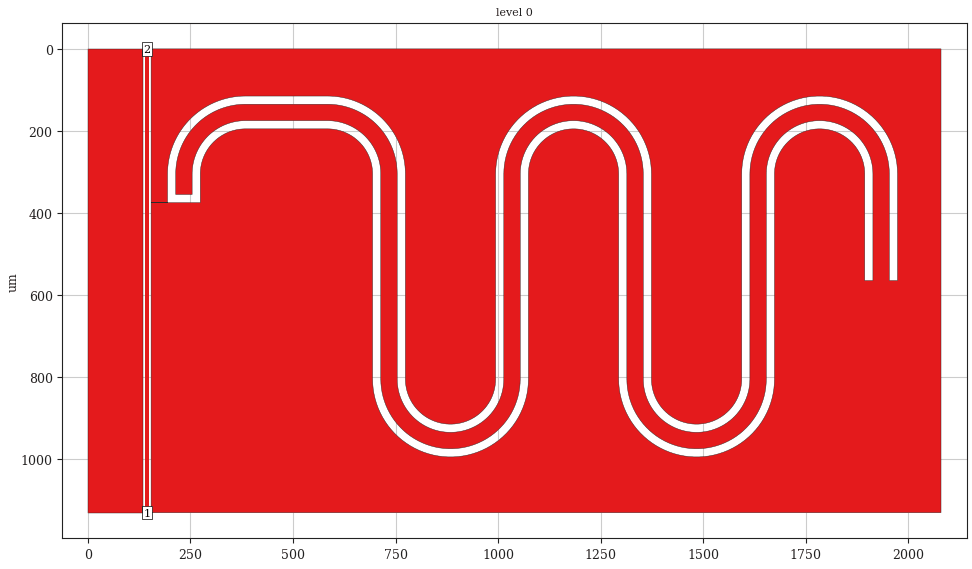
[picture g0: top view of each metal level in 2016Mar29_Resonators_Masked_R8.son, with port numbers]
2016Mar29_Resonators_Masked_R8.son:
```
FTYP SONPROJ 15 ! Sonnet Project File
VER 16.52
HEADER
LIC calt2.2.43068 b4ae2bd1247e DESKTOP-SL82IK9 Michael
DAT 04/05/2016 01:48:14
BUILT_BY_CREATED xgeom 16.52 03/26/2016 21:21:12
BUILT_BY_SAVED xgeom 16.52
MDATE 04/05/2016 01:34:09
HDATE 04/05/2016 01:34:09
END HEADER
DIM
FREQ GHZ
IND NH
LNG UM
ANG DEG
CON /OH
CAP PF
RES OH
END DIM
FREQ
ABS 5.9 6.2 
END FREQ
CONTROL
ABS
OPTIONS  -d 
SPEED 0
CACHE_ABS 1
TARG_ABS 300
Q_ACC N
DET_ABS_RES Y
END CONTROL
GEO
TMET "Lossless" 0 SUP 0 0 0 0
BMET "Lossless" 0 SUP 0 0 0 0
BOX 1 2080 1130 832 452 20 0
      1000 1 1 0 0 0 0 "Air"
      500 11.9 1 5e-006 0 0 0 "Silicon (intrinsic)"
LORGN 0 1130 U 
POR1 STD
POLY 9 1
2
1 50 0 0 0 144 1130 
POR1 STD
POLY 9 1
0
2 50 0 0 0 144 -1 
NUM 3
0 5 -1 N 9 1 1 100 100 0 0 0 Y
149 -1
139 -1
139 1130
149 1130
149 -1
END
0 5 -1 N 10 1 1 100 100 0 0 0 Y
134 -1
0 -1
0 1130
134 1130
134 -1
END
0 1218 -1 N 11 1 1 100 100 0 0 0 Y
2079.999993 -1
154 -1
154 374
194 374
194 304
194.1 297.91
194.39 291.83
194.88 285.76
195.56 279.7
196.44 273.68
197.5 267.68
198.76 261.72
200.21 255.81
201.85 249.94
203.68 244.13
205.69 238.38
207.89 232.7
210.26 227.09
212.82 221.56
215.55 216.12
218.45 210.76
221.52 205.51
224.76 200.35
228.17 195.3
231.73 190.36
235.45 185.54
239.32 180.84
243.35 176.26
247.51 171.82
251.82 167.51
256.26 163.35
260.84 159.32
265.54 155.45
270.36 151.73
275.3 148.17
280.35 144.76
285.51 141.52
290.76 138.45
296.12 135.55
301.56 132.82
307.09 130.26
312.7 127.89
318.38 125.69
324.13 123.68
329.94 121.85
335.81 120.21
341.72 118.76
347.68 117.5
353.68 116.43
359.7 115.56
365.76 114.88
371.83 114.39
377.91 114.1
384 114
584 114
590.09 114.1
596.17 114.39
602.24 114.88
608.3 115.56
614.32 116.43
620.32 117.5
626.28 118.76
632.19 120.21
638.06 121.85
643.87 123.68
649.62 125.69
655.3 127.89
660.91 130.26
666.44 132.82
671.88 135.55
677.24 138.45
682.49 141.52
687.65 144.76
692.7 148.17
697.64 151.73
702.46 155.45
707.16 159.32
711.74 163.35
716.18 167.51
720.49 171.82
724.65 176.26
728.68 180.84
732.55 185.54
736.27 190.36
739.83 195.3
743.24 200.35
746.48 205.51
749.55 210.76
752.45 216.12
755.18 221.56
757.74 227.09
760.11 232.7
762.31 238.38
764.32 244.13
766.15 249.94
767.79 255.81
769.24 261.72
770.5 267.68
771.57 273.68
772.44 279.7
773.12 285.76
773.61 291.83
773.9 297.91
774 304
774 804
774.23 811.05
774.9 818.07
776.03 825.03
777.6 831.9
779.6 838.66
782.04 845.28
784.89 851.73
788.15 857.98
791.81 864.01
795.85 869.79
800.24 875.3
804.98 880.53
810.05 885.43
815.42 890
821.07 894.22
826.98 898.07
833.12 901.53
839.47 904.58
846.01 907.23
852.7 909.45
859.52 911.24
866.44 912.59
873.44 913.49
880.47 913.94
887.53 913.94
894.56 913.49
901.56 912.59
908.48 911.24
915.3 909.45
921.99 907.23
928.53 904.58
934.88 901.53
941.02 898.07
946.93 894.22
952.58 890
957.95 885.43
963.02 880.53
967.76 875.3
972.15 869.79
976.19 864.01
979.85 857.98
983.11 851.73
985.96 845.28
988.4 838.66
990.4 831.9
991.97 825.03
993.1 818.07
993.77 811.05
994 804
994 304
994.39 291.83
995.56 279.7
997.5 267.68
1000.21 255.81
1003.68 244.13
1007.89 232.7
1012.82 221.56
1018.45 210.76
1024.76 200.35
1031.73 190.36
1039.32 180.84
1047.51 171.82
1056.26 163.35
1065.54 155.45
1075.3 148.17
1085.51 141.52
1096.12 135.55
1107.09 130.26
1118.38 125.69
1129.94 121.85
1141.72 118.76
1153.68 116.43
1165.76 114.88
1177.91 114.1
1190.09 114.1
1202.24 114.88
1214.32 116.43
1226.28 118.76
1238.06 121.85
1249.62 125.69
1260.91 130.26
1271.88 135.55
1282.49 141.52
1292.7 148.17
1302.46 155.45
1311.74 163.35
1320.49 171.82
1328.68 180.84
1336.27 190.36
1343.24 200.35
1349.55 210.76
1355.18 221.56
1360.11 232.7
1364.32 244.13
1367.79 255.81
1370.5 267.68
1372.44 279.7
1373.61 291.83
1374 304
1374 804
1374.23 811.05
1374.9 818.07
1376.03 825.03
1377.6 831.9
1379.6 838.66
1382.04 845.28
1384.89 851.73
1388.15 857.98
1391.81 864.01
1395.85 869.79
1400.24 875.3
1404.98 880.53
1410.05 885.43
1415.42 890
1421.07 894.22
1426.98 898.07
1433.12 901.53
1439.47 904.58
1446.01 907.23
1452.7 909.45
1459.52 911.24
1466.44 912.59
1473.44 913.49
1480.47 913.94
1487.53 913.94
1494.56 913.49
1501.56 912.59
1508.48 911.24
1515.3 909.45
1521.99 907.23
1528.53 904.58
1534.88 901.53
1541.02 898.07
1546.93 894.22
1552.58 890
1557.95 885.43
1563.02 880.53
1567.76 875.3
1572.15 869.79
1576.19 864.01
1579.85 857.98
1583.11 851.73
1585.96 845.28
1588.4 838.66
1590.4 831.9
1591.97 825.03
1593.1 818.07
1593.77 811.05
1594 804
1594 304
1594.39 291.83
1595.56 279.7
1597.5 267.68
1600.21 255.81
1603.68 244.13
1607.89 232.7
1612.82 221.56
1618.45 210.76
1624.76 200.35
1631.73 190.36
1639.32 180.84
1647.51 171.82
1656.26 163.35
1665.54 155.45
1675.3 148.17
1685.51 141.52
1696.12 135.55
1707.09 130.26
1718.38 125.69
1729.94 121.85
1741.72 118.76
1753.68 116.43
1765.76 114.88
1777.91 114.1
1790.09 114.1
1802.24 114.88
1814.32 116.43
1826.28 118.76
1838.06 121.85
1849.62 125.69
1860.91 130.26
1871.88 135.55
1882.49 141.52
1892.7 148.17
1902.46 155.45
1911.74 163.35
1920.49 171.82
1928.68 180.84
1936.27 190.36
1943.24 200.35
1949.55 210.76
1955.18 221.56
1960.11 232.7
1964.32 244.13
1967.79 255.81
1970.5 267.68
1972.44 279.7
1973.61 291.83
1974 304
1974 564.05
1954 564.05
1954 304
1953.65 293.11
1952.6 282.26
1950.86 271.5
1948.44 260.88
1945.34 250.43
1941.58 240.2
1937.17 230.24
1932.12 220.58
1926.48 211.26
1920.24 202.32
1913.45 193.8
1906.12 185.73
1898.29 178.15
1889.99 171.09
1881.26 164.57
1872.13 158.63
1862.63 153.28
1852.81 148.55
1842.71 144.46
1832.37 141.03
1821.83 138.26
1811.13 136.18
1800.32 134.79
1789.45 134.09
1778.55 134.09
1767.68 134.79
1756.87 136.18
1746.17 138.26
1735.63 141.03
1725.29 144.46
1715.19 148.55
1705.37 153.28
1695.87 158.63
1686.74 164.57
1678.01 171.09
1669.71 178.15
1661.88 185.73
1654.55 193.8
1647.76 202.32
1641.53 211.26
1635.88 220.58
1630.84 230.24
1626.42 240.2
1622.66 250.43
1619.56 260.88
1617.14 271.5
1615.4 282.26
1614.35 293.11
1614 304
1614 804
1613.73 812.33
1612.93 820.62
1611.6 828.85
1609.75 836.97
1607.38 844.96
1604.5 852.78
1601.13 860.4
1597.27 867.79
1592.95 874.92
1588.18 881.75
1582.99 888.27
1577.39 894.44
1571.4 900.24
1565.05 905.64
1558.38 910.62
1551.39 915.17
1544.13 919.26
1536.62 922.87
1528.9 926
1520.99 928.63
1512.93 930.74
1504.75 932.33
1496.48 933.4
1488.17 933.93
1479.83 933.93
1471.52 933.4
1463.25 932.33
1455.07 930.74
1447.01 928.63
1439.1 926
1431.38 922.87
1423.87 919.26
1416.61 915.17
1409.63 910.62
1402.95 905.64
1396.6 900.24
1390.61 894.44
1385.01 888.27
1379.82 881.75
1375.05 874.92
1370.73 867.79
1366.87 860.4
1363.5 852.78
1360.62 844.96
1358.25 836.97
1356.4 828.85
1355.07 820.62
1354.27 812.33
1354 804
1354 304
1353.65 293.11
1352.6 282.26
1350.86 271.5
1348.44 260.88
1345.34 250.43
1341.58 240.2
1337.17 230.24
1332.12 220.58
1326.48 211.26
1320.24 202.32
1313.45 193.8
1306.12 185.73
1298.29 178.15
1289.99 171.09
1281.26 164.57
1272.13 158.63
1262.63 153.28
1252.81 148.55
1242.71 144.46
1232.37 141.03
1221.83 138.26
1211.13 136.18
1200.32 134.79
1189.45 134.09
1178.55 134.09
1167.68 134.79
1156.87 136.18
1146.17 138.26
1135.63 141.03
1125.29 144.46
1115.19 148.55
1105.37 153.28
1095.87 158.63
1086.74 164.57
1078.01 171.09
1069.71 178.15
1061.88 185.73
1054.55 193.8
1047.76 202.32
1041.53 211.26
1035.88 220.58
1030.84 230.24
1026.42 240.2
1022.66 250.43
1019.56 260.88
1017.14 271.5
1015.4 282.26
1014.35 293.11
1014 304
1014 804
1013.73 812.33
1012.93 820.62
1011.6 828.85
1009.75 836.97
1007.38 844.96
1004.5 852.78
1001.13 860.4
997.27 867.79
992.95 874.92
988.18 881.75
982.99 888.27
977.39 894.44
971.4 900.24
965.05 905.64
958.38 910.62
951.39 915.17
944.13 919.26
936.62 922.87
928.9 926
920.99 928.63
912.93 930.74
904.75 932.33
896.48 933.4
888.17 933.93
879.83 933.93
871.52 933.4
863.25 932.33
855.07 930.74
847.01 928.63
839.1 926
831.38 922.87
823.87 919.26
816.61 915.17
809.63 910.62
802.95 905.64
796.6 900.24
790.61 894.44
785.01 888.27
779.82 881.75
775.05 874.92
770.73 867.79
766.87 860.4
763.5 852.78
760.62 844.96
758.25 836.97
756.4 828.85
755.07 820.62
754.27 812.33
754 804
754 304
753.91 298.55
753.65 293.11
753.21 287.68
752.6 282.26
751.82 276.87
750.86 271.5
749.74 266.17
748.44 260.88
746.97 255.63
745.34 250.43
743.54 245.29
741.58 240.2
739.45 235.19
737.17 230.24
734.72 225.37
732.12 220.58
729.37 215.87
726.48 211.26
723.43 206.74
720.24 202.32
716.91 198.01
713.45 193.8
709.85 189.71
706.12 185.73
702.27 181.88
698.29 178.15
694.2 174.55
689.99 171.09
685.68 167.76
681.26 164.57
676.74 161.53
672.13 158.63
667.42 155.88
662.63 153.28
657.76 150.83
652.81 148.55
647.8 146.42
642.71 144.46
637.57 142.66
632.37 141.03
627.12 139.56
621.83 138.26
616.5 137.13
611.13 136.18
605.74 135.4
600.32 134.79
594.89 134.35
589.45 134.09
584 134
384 134
378.55 134.09
373.11 134.35
367.68 134.79
362.26 135.4
356.87 136.18
351.5 137.13
346.17 138.26
340.88 139.56
335.63 141.03
330.43 142.66
325.29 144.46
320.2 146.42
315.19 148.55
310.24 150.83
305.37 153.28
300.58 155.88
295.87 158.63
291.26 161.53
286.74 164.57
282.32 167.76
278.01 171.09
273.8 174.55
269.71 178.15
265.73 181.88
261.88 185.73
258.15 189.71
254.55 193.8
251.09 198.01
247.76 202.32
244.57 206.74
241.53 211.26
238.63 215.87
235.88 220.58
233.28 225.37
230.84 230.24
228.55 235.19
226.42 240.2
224.46 245.29
222.66 250.43
221.03 255.63
219.56 260.88
218.26 266.17
217.14 271.5
216.18 276.87
215.4 282.26
214.79 287.68
214.35 293.11
214.09 298.55
214 304
214 354
254 354
254 304
254.07 299.83
254.27 295.67
254.6 291.52
255.07 287.38
255.67 283.25
256.4 279.15
257.26 275.07
258.25 271.03
259.37 267.01
260.62 263.04
262 259.1
263.5 255.22
265.13 251.38
266.87 247.59
268.74 243.87
270.73 240.21
272.83 236.61
275.05 233.08
277.38 229.62
279.82 226.25
282.36 222.95
285.01 219.73
287.76 216.6
290.61 213.56
293.56 210.61
296.6 207.76
299.73 205.01
302.95 202.36
306.25 199.82
309.63 197.38
313.08 195.05
316.61 192.83
320.21 190.73
323.87 188.74
327.6 186.87
331.38 185.13
335.22 183.5
339.1 182
343.04 180.62
347.01 179.37
351.03 178.25
355.07 177.26
359.15 176.4
363.25 175.67
367.38 175.07
371.52 174.6
375.67 174.27
379.83 174.07
384 174
584 174
588.17 174.07
592.33 174.27
596.48 174.6
600.62 175.07
604.75 175.67
608.85 176.4
612.93 177.26
616.98 178.25
620.99 179.37
624.96 180.62
628.9 182
632.78 183.5
636.62 185.13
640.4 186.87
644.13 188.74
647.79 190.73
651.39 192.83
654.92 195.05
658.38 197.38
661.75 199.82
665.05 202.36
668.27 205.01
671.4 207.76
674.44 210.61
677.39 213.56
680.24 216.6
682.99 219.73
685.64 222.95
688.18 226.25
690.62 229.62
692.95 233.08
695.17 236.61
697.27 240.21
699.26 243.87
701.13 247.59
702.87 251.38
704.5 255.22
706 259.1
707.38 263.04
708.63 267.01
709.75 271.03
710.74 275.07
711.6 279.15
712.33 283.25
712.93 287.38
713.4 291.52
713.73 295.67
713.93 299.83
714 304
714 804
714.35 814.89
715.4 825.74
717.14 836.5
719.56 847.12
722.66 857.57
726.42 867.8
730.84 877.76
735.88 887.42
741.53 896.74
747.76 905.68
754.55 914.2
761.88 922.27
769.71 929.85
778.01 936.91
786.74 943.43
795.87 949.37
805.37 954.72
815.19 959.45
825.29 963.54
835.63 966.97
846.17 969.74
856.87 971.82
867.68 973.21
878.55 973.91
889.45 973.91
900.32 973.21
911.13 971.82
921.83 969.74
932.37 966.97
942.71 963.54
952.81 959.45
962.63 954.72
972.13 949.37
981.26 943.43
989.99 936.91
998.29 929.85
1006.12 922.27
1013.45 914.2
1020.24 905.68
1026.48 896.74
1032.12 887.42
1037.17 877.76
1041.58 867.8
1045.34 857.57
1048.44 847.12
1050.86 836.5
1052.6 825.74
1053.65 814.89
1054 804
1054 304
1054.27 295.67
1055.07 287.38
1056.4 279.15
1058.25 271.03
1060.62 263.04
1063.5 255.22
1066.87 247.59
1070.73 240.21
1075.05 233.08
1079.82 226.25
1085.01 219.73
1090.61 213.56
1096.6 207.76
1102.95 202.36
1109.63 197.38
1116.61 192.83
1123.87 188.74
1131.38 185.13
1139.1 182
1147.01 179.37
1155.07 177.26
1163.25 175.67
1171.52 174.6
1179.83 174.07
1188.17 174.07
1196.48 174.6
1204.75 175.67
1212.93 177.26
1220.99 179.37
1228.9 182
1236.62 185.13
1244.13 188.74
1251.39 192.83
1258.38 197.38
1265.05 202.36
1271.4 207.76
1277.39 213.56
1282.99 219.73
1288.18 226.25
1292.95 233.08
1297.27 240.21
1301.13 247.59
1304.5 255.22
1307.38 263.04
1309.75 271.03
1311.6 279.15
1312.93 287.38
1313.73 295.67
1314 304
1314 804
1314.35 814.89
1315.4 825.74
1317.14 836.5
1319.56 847.12
1322.66 857.57
1326.42 867.8
1330.84 877.76
1335.88 887.42
1341.53 896.74
1347.76 905.68
1354.55 914.2
1361.88 922.27
1369.71 929.85
1378.01 936.91
1386.74 943.43
1395.87 949.37
1405.37 954.72
1415.19 959.45
1425.29 963.54
1435.63 966.97
1446.17 969.74
1456.87 971.82
1467.68 973.21
1478.55 973.91
1489.45 973.91
1500.32 973.21
1511.13 971.82
1521.83 969.74
1532.37 966.97
1542.71 963.54
1552.81 959.45
1562.63 954.72
1572.13 949.37
1581.26 943.43
1589.99 936.91
1598.29 929.85
1606.12 922.27
1613.45 914.2
1620.24 905.68
1626.48 896.74
1632.12 887.42
1637.17 877.76
1641.58 867.8
1645.34 857.57
1648.44 847.12
1650.86 836.5
1652.6 825.74
1653.65 814.89
1654 804
1654 304
1654.27 295.67
1655.07 287.38
1656.4 279.15
1658.25 271.03
1660.62 263.04
1663.5 255.22
1666.87 247.59
1670.73 240.21
1675.05 233.08
1679.82 226.25
1685.01 219.73
1690.61 213.56
1696.6 207.76
1702.95 202.36
1709.63 197.38
1716.61 192.83
1723.87 188.74
1731.38 185.13
1739.1 182
1747.01 179.37
1755.07 177.26
1763.25 175.67
1771.52 174.6
1779.83 174.07
1788.17 174.07
1796.48 174.6
1804.75 175.67
1812.93 177.26
1820.99 179.37
1828.9 182
1836.62 185.13
1844.13 188.74
1851.39 192.83
1858.38 197.38
1865.05 202.36
1871.4 207.76
1877.39 213.56
1882.99 219.73
1888.18 226.25
1892.95 233.08
1897.27 240.21
1901.13 247.59
1904.5 255.22
1907.38 263.04
1909.75 271.03
1911.6 279.15
1912.93 287.38
1913.73 295.67
1914 304
1914 564.05
1894 564.05
1894 304
1893.77 296.95
1893.1 289.93
1891.97 282.97
1890.4 276.1
1888.4 269.34
1885.96 262.72
1883.11 256.27
1879.85 250.02
1876.19 243.99
1872.15 238.21
1867.76 232.69
1863.02 227.47
1857.95 222.57
1852.58 218
1846.93 213.78
1841.02 209.93
1834.88 206.47
1828.53 203.41
1821.99 200.77
1815.3 198.55
1808.48 196.76
1801.56 195.41
1794.56 194.51
1787.53 194.06
1780.47 194.06
1773.44 194.51
1766.44 195.41
1759.52 196.76
1752.7 198.55
1746.01 200.77
1739.47 203.41
1733.12 206.47
1726.98 209.93
1721.07 213.78
1715.42 218
1710.05 222.57
1704.98 227.47
1700.24 232.69
1695.85 238.21
1691.81 243.99
1688.15 250.02
1684.89 256.27
1682.04 262.72
1679.6 269.34
1677.6 276.1
1676.03 282.97
1674.9 289.93
1674.23 296.95
1674 304
1674 804
1673.61 816.17
1672.44 828.3
1670.5 840.32
1667.79 852.19
1664.32 863.87
1660.11 875.3
1655.18 886.44
1649.55 897.24
1643.24 907.65
1636.27 917.64
1628.68 927.16
1620.49 936.18
1611.74 944.65
1602.46 952.55
1592.7 959.83
1582.49 966.48
1571.88 972.45
1560.91 977.74
1549.62 982.31
1538.06 986.15
1526.28 989.24
1514.32 991.57
1502.24 993.12
1490.09 993.9
1477.91 993.9
1465.76 993.12
1453.68 991.57
1441.72 989.24
1429.94 986.15
1418.38 982.31
1407.09 977.74
1396.12 972.45
1385.51 966.48
1375.3 959.83
1365.54 952.55
1356.26 944.65
1347.51 936.18
1339.32 927.16
1331.73 917.64
1324.76 907.65
1318.45 897.24
1312.82 886.44
1307.89 875.3
1303.68 863.87
1300.21 852.19
1297.5 840.32
1295.56 828.3
1294.39 816.17
1294 804
1294 304
1293.77 296.95
1293.1 289.93
1291.97 282.97
1290.4 276.1
1288.4 269.34
1285.96 262.72
1283.11 256.27
1279.85 250.02
1276.19 243.99
1272.15 238.21
1267.76 232.69
1263.02 227.47
1257.95 222.57
1252.58 218
1246.93 213.78
1241.02 209.93
1234.88 206.47
1228.53 203.41
1221.99 200.77
1215.3 198.55
1208.48 196.76
1201.56 195.41
1194.56 194.51
1187.53 194.06
1180.47 194.06
1173.44 194.51
1166.44 195.41
1159.52 196.76
1152.7 198.55
1146.01 200.77
1139.47 203.41
1133.12 206.47
1126.98 209.93
1121.07 213.78
1115.42 218
1110.05 222.57
1104.98 227.47
1100.24 232.69
1095.85 238.21
1091.81 243.99
1088.15 250.02
1084.89 256.27
1082.04 262.72
1079.6 269.34
1077.6 276.1
1076.03 282.97
1074.9 289.93
1074.23 296.95
1074 304
1074 804
1073.61 816.17
1072.44 828.3
1070.5 840.32
1067.79 852.19
1064.32 863.87
1060.11 875.3
1055.18 886.44
1049.55 897.24
1043.24 907.65
1036.27 917.64
1028.68 927.16
1020.49 936.18
1011.74 944.65
1002.46 952.55
992.7 959.83
982.49 966.48
971.88 972.45
960.91 977.74
949.62 982.31
938.06 986.15
926.28 989.24
914.32 991.57
902.24 993.12
890.09 993.9
877.91 993.9
865.76 993.12
853.68 991.57
841.72 989.24
829.94 986.15
818.38 982.31
807.09 977.74
796.12 972.45
785.51 966.48
775.3 959.83
765.54 952.55
756.26 944.65
747.51 936.18
739.32 927.16
731.73 917.64
724.76 907.65
718.45 897.24
712.82 886.44
707.89 875.3
703.68 863.87
700.21 852.19
697.5 840.32
695.56 828.3
694.39 816.17
694 804
694 304
693.94 300.47
693.77 296.95
693.49 293.44
693.1 289.93
692.59 286.44
691.97 282.97
691.24 279.52
690.4 276.1
689.45 272.7
688.4 269.34
687.23 266.01
685.96 262.72
684.59 259.47
683.11 256.27
681.53 253.12
679.85 250.02
678.07 246.98
676.19 243.99
674.22 241.07
672.15 238.21
670 235.42
667.76 232.69
665.43 230.05
663.02 227.47
660.53 224.98
657.95 222.57
655.31 220.24
652.58 218
649.79 215.84
646.93 213.78
644.01 211.81
641.02 209.93
637.98 208.15
634.88 206.47
631.73 204.89
628.53 203.41
625.28 202.04
621.99 200.77
618.66 199.6
615.3 198.55
611.9 197.6
608.48 196.76
605.03 196.03
601.56 195.41
598.07 194.9
594.56 194.51
591.05 194.23
587.53 194.06
584 194
384 194
380.47 194.06
376.95 194.23
374 194.46
373.44 194.51
369.93 194.9
366.44 195.41
362.97 196.03
359.52 196.76
356.1 197.6
352.7 198.55
349.34 199.6
346.01 200.77
342.72 202.04
339.47 203.41
336.27 204.89
333.12 206.47
330.02 208.15
326.98 209.93
323.99 211.81
321.07 213.78
318.21 215.84
315.42 218
312.69 220.24
310.05 222.57
307.48 224.98
304.98 227.47
302.57 230.05
300.24 232.69
298 235.42
295.85 238.21
293.78 241.07
291.81 243.99
289.93 246.98
288.15 250.02
286.47 253.12
284.89 256.27
283.42 259.47
282.04 262.72
280.77 266.01
279.6 269.34
278.55 272.7
277.6 276.1
276.76 279.52
276.03 282.97
275.41 286.44
274.9 289.93
274.51 293.44
274.23 296.95
274.06 300.47
274 304
274 374
194 374
154 374
154 374
154 1130
2079.999993 1130
2079.999993 -1
END
END GEO
OPT
MAX 100
VARS
END
END OPT
VARSWP
END VARSWP
QSG
IMPORT YES
EXTRA_METAL NO
UNITS NO
ALIGN NO
REF NO
VIEW_RES NO
METALS NO
USED YES
END QSG
```
